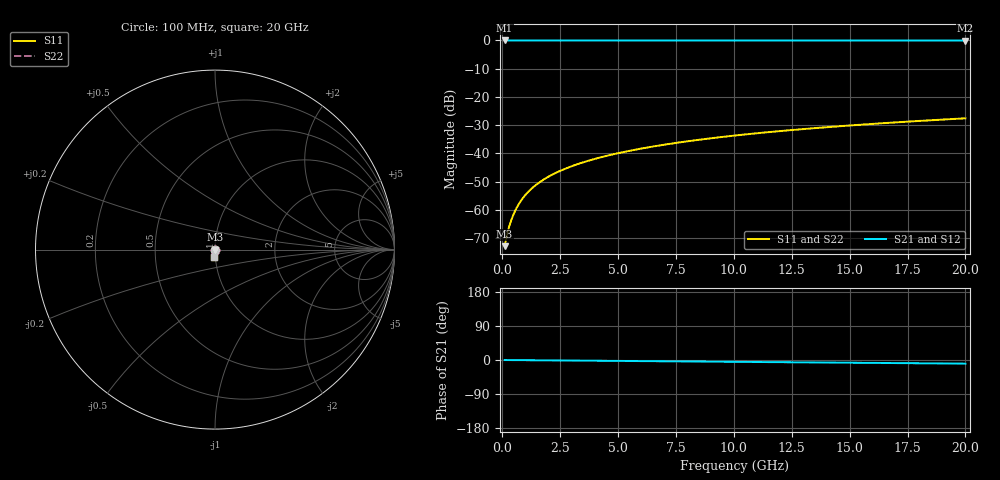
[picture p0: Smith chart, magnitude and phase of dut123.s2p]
! Touchstone file exported from HFSS 2026.1.0
!  File:  C:/ffzhzh/LocalFiles/Ansys_Project_Files/temp_train_TSV_123_1782989991_45328.aedt
!  Generated:  07:01:12 PM Jul  2, 2026
!  Design:  TSV
!  Project:  temp_train_TSV_123_1782989991_45328
! Variables:
!  h_bsmrdl = 2um
!  h_ox = 20um
!  h_rdl = 5um
!  h_sub = 99.56um
!  h_tmrdl = 5um
!  h_tsv = 99.56um
!  h_via = 3um
!  l_bsmrdl = 300um
!  l_sub = 419.12um
!  l_tmrdl = 200um
!  m_sub = 200um
!  pitch = 30.63um
!  r_tsv = 9.56um
!  s_tmrdl = 10um
!  w_bsmrdl = 18um
!  w_sub = 500um
!  w_tmrdl = 12um
!  x_tsv_center1 = 206um
!  x_tsv_center2 = 524um
!  x_tsv_center3 = 736um
!  x_tsv_center4 = 1054um
!  x_tsv_center5 = 1266um
!  x_tsv_center6 = 1584um
# GHz S MA R 50.000000
! Terminal data exported
! Port[1] = TSV1_1_T1
! Port[2] = TSV1_1_T2
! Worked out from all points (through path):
!   200 points, 100 MHz to 20 GHz, reference 50 ohm
!   highest |S21| = 0.00 dB at 100 MHz (marker M1); lowest = 0.0 dB at 20 GHz (marker M2)
!   group delay of S21, straight-line fit = 1.32 ps
!   lowest |S11| = -72.9 dB at 100 MHz (marker M3), VSWR 1.00, Z = 50 - j0.0149 ohm
!   |S11| at or under -10 dB: start of sweep to end of sweep
!   |S22| runs from -72.9 to -27.6 dB; largest |S21 - S12| = 3e-15
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0.1  0.000227 -41.0  0.9998 -0.1  0.9998 -0.1  0.000227 -41.0
! Gamma 0 0 0 0
! Port Impedance 50 0 50 0
0.2  0.0003565 -58.0  0.9998 -0.1  0.9998 -0.1  0.0003565 -58.0
0.3  0.0005109 -65.1  0.9998 -0.2  0.9998 -0.2  0.0005109 -65.1
0.4  0.0006797 -68.8  0.9998 -0.2  0.9998 -0.2  0.0006797 -68.8
0.5  0.0008591 -71.1  0.9997 -0.3  0.9997 -0.3  0.0008591 -71.1
0.6  0.001046 -72.8  0.9997 -0.3  0.9997 -0.3  0.001046 -72.8
0.8  0.001436 -75.3  0.9996 -0.4  0.9996 -0.4  0.001436 -75.3
1.1  0.00204 -77.9  0.9996 -0.5  0.9996 -0.5  0.00204 -77.9
1.3  0.002447 -79.3  0.9995 -0.6  0.9995 -0.6  0.002447 -79.3
1.5  0.002854 -80.4  0.9995 -0.7  0.9995 -0.7  0.002854 -80.4
1.8  0.003467 -81.7  0.9994 -0.9  0.9994 -0.9  0.003467 -81.7
2.1  0.00408 -82.8  0.9994 -1.0  0.9994 -1.0  0.00408 -82.8
2.7  0.005307 -84.3  0.9993 -1.3  0.9993 -1.3  0.005307 -84.3
3.5  0.006952 -85.7  0.9992 -1.7  0.9992 -1.7  0.006952 -85.7
4.2  0.0084 -86.6  0.9992 -2.0  0.9992 -2.0  0.0084 -86.6
5  0.01006 -87.4  0.9991 -2.4  0.9991 -2.4  0.01006 -87.4
6.8  0.01384 -89.0  0.9989 -3.3  0.9989 -3.3  0.01384 -89.0
8.3  0.017 -90.1  0.9987 -4.0  0.9987 -4.0  0.017 -90.1
10.1  0.02081 -91.4  0.9985 -4.8  0.9985 -4.8  0.02081 -91.4
13.4  0.02779 -93.4  0.9982 -6.4  0.9982 -6.4  0.02779 -93.4
16.7  0.03478 -95.3  0.9978 -8.0  0.9978 -8.0  0.03478 -95.3
20  0.04177 -97.1  0.9973 -9.6  0.9973 -9.6  0.04177 -97.1
